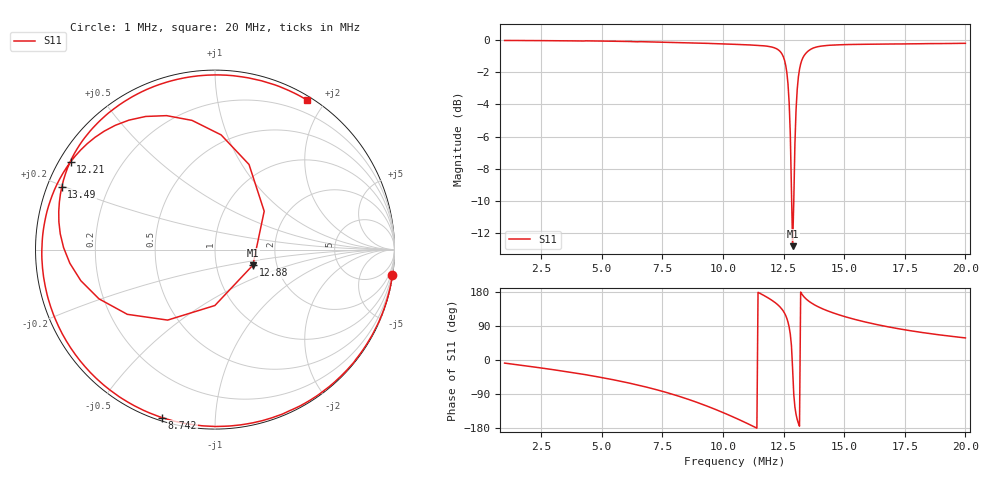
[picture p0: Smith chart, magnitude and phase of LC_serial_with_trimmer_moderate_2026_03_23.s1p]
# HZ S RI R 50
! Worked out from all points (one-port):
!   401 points, 1 MHz to 20 MHz, reference 50 ohm
!   lowest |S11| = -12.8 dB at 12.88 MHz (marker M1), VSWR 1.59, Z = 75.2 - j13.8 ohm
!   |S11| at or under -10 dB: 12.84 MHz to 12.92 MHz (86.01 kHz wide, 0.668 % of centre)
!   S11 on the Smith chart (normalised r, x): 1 MHz: 0, -14; 8.742 MHz: 0.01, -0.73; 12.21 MHz: 0.03, +0.28; 12.88 MHz: 1.50, -0.28; 13.49 MHz: 0.04, +0.20; 20 MHz: 0.05, +1.79
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1000000  0.9888 -0.1419
3375000  0.8709 -0.4844
5750000  0.5604 -0.8196
6937500  0.29 -0.9453
8125000  -0.0756 -0.9812
8742500  -0.2947 -0.9362
9645000  -0.6169 -0.7572
1.05e7  -0.8613 -0.4492
1.14975e7  -0.9624 0.0512
1.221e7  -0.8045 0.4892
1.24475e7  -0.6172 0.6599
1.26375e7  -0.2698 0.7463
1.27325e7  0.0341 0.6391
1.278e7  0.1895 0.4743
1.28275e7  0.2741 0.2139
1.2875e7  0.211 -0.0869
1.297e7  -0.2639 -0.3927
1.30175e7  -0.4884 -0.3607
1.3065e7  -0.6466 -0.2742
1.316e7  -0.8088 -0.0759
1.33025e7  -0.8698 0.1543
1.34925e7  -0.8536 0.3495
1.37775e7  -0.7825 0.5371
1.41575e7  -0.6652 0.694
1.525e7  -0.3385 0.9094
1.6295e7  -0.0713 0.9699
1.7625e7  0.1965 0.9545
2e7  0.5147 0.8323
